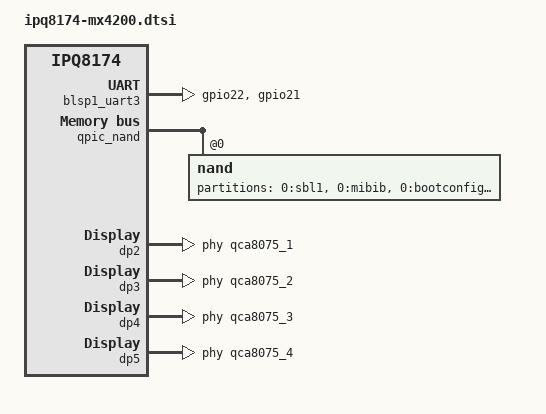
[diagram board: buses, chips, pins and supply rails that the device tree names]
// SPDX-License-Identifier: GPL-2.0-or-later OR MIT

#include "ipq8174-mx4x00.dtsi"

&tlmm {
	iot_pins: iot-pins {
		recovery-pins {
			pins = "gpio22";
			function = "gpio";
			drive-strength = <8>;
			input;
		};

		reset-pins {
			pins = "gpio21";
			function = "gpio";
			drive-strength = <8>;
			bias-pull-up;
		};
	};
};

&blsp1_uart3 {
	status = "okay";

	pinctrl-0 = <&hsuart_pins>, <&iot_pins>;
	pinctrl-names = "default";

	/* Silicon Labs EFR32MG21 IoT */
};

&qpic_nand {
	status = "okay";

	partitions {
		status = "disabled";
	};

	nand@0 {
		reg = <0>;

		nand-ecc-strength = <4>;
		nand-ecc-step-size = <512>;
		nand-bus-width = <8>;

		partitions {
			compatible = "fixed-partitions";
			#address-cells = <1>;
			#size-cells = <1>;

			partition@0 {
				label = "0:sbl1";
				reg = <0x00000000 0x00100000>;
				read-only;
			};

			partition@100000 {
				label = "0:mibib";
				reg = <0x00100000 0x00100000>;
				read-only;
			};

			partition@200000 {
				label = "0:bootconfig";
				reg = <0x00200000 0x00080000>;
				read-only;
			};

			partition@280000 {
				label = "0:bootconfig1";
				reg = <0x00280000 0x00080000>;
				read-only;
			};

			partition@300000 {
				label = "0:qsee";
				reg = <0x00300000 0x00300000>;
				read-only;
			};

			partition@600000 {
				label = "0:qsee_1";
				reg = <0x00600000 0x00300000>;
				read-only;
			};

			partition@900000 {
				label = "0:devcfg";
				reg = <0x00900000 0x00080000>;
				read-only;
			};

			partition@980000 {
				label = "0:devcfg_1";
				reg = <0x00980000 0x00080000>;
				read-only;
			};

			partition@a00000 {
				label = "0:apdp";
				reg = <0x00a00000 0x00080000>;
				read-only;
			};

			partition@a80000 {
				label = "0:apdp_1";
				reg = <0x00a80000 0x00080000>;
				read-only;
			};

			partition@b00000 {
				label = "0:rpm";
				reg = <0x00b00000 0x00080000>;
				read-only;
			};

			partition@b80000 {
				label = "0:rpm_1";
				reg = <0x00b80000 0x00080000>;
				read-only;
			};

			partition@c00000 {
				label = "0:cdt";
				reg = <0x00c00000 0x00080000>;
				read-only;
			};

			partition@c80000 {
				label = "0:cdt_1";
				reg = <0x00c80000 0x00080000>;
				read-only;
			};

			partition@d00000 {
				label = "0:appsblenv";
				reg = <0x00d00000 0x00080000>;
			};

			partition@d80000 {
				label = "0:appsbl";
				reg = <0x00d80000 0x00100000>;
				read-only;
			};

			partition@e80000 {
				label = "0:appsbl_1";
				reg = <0x00e80000 0x00100000>;
				read-only;
			};

			partition@f80000 {
				label = "0:art";
				reg = <0x00f80000 0x00080000>;
				read-only;
			};

			partition@1000000 {
				label = "u_env";
				reg = <0x01000000 0x00040000>;
			};

			partition@1040000 {
				label = "s_env";
				reg = <0x01040000 0x00020000>;
			};

			partition@1060000 {
				label = "devinfo";
				reg = <0x01060000 0x00020000>;
				read-only;

				nvmem-layout {
					compatible = "ascii-eq-delim-env";

					hw_mac_addr: hw_mac_addr {
						compatible = "mac-base";
						#nvmem-cell-cells = <1>;
					};
				};
			};

			partition@1080000 {
				label = "kernel";
				reg = <0x01080000 0x09600000>;
			};

			partition@1680000 {
				label = "rootfs";
				reg = <0x01680000 0x09000000>;
			};

			partition@a680000 {
				label = "alt_kernel";
				reg = <0x0a680000 0x09600000>;
			};

			partition@ac80000 {
				label = "alt_rootfs";
				reg = <0x0ac80000 0x09000000>;
			};

			partition@13c80000 {
				label = "sysdiag";
				reg = <0x13c80000 0x00200000>;
				read-only;
			};

			partition@13e80000 {
				label = "0:ethphyfw";
				reg = <0x13e80000 0x00080000>;
				read-only;
			};

			partition@13f00000 {
				label = "syscfg";
				reg = <0x13f00000 0x0b800000>;
				read-only;
			};

			partition@1f700000 {
				label = "0:wififw";
				reg = <0x1f700000 0x00900000>;
				read-only;
			};
		};
	};
};

&dp2 {
	status = "okay";
	phy-handle = <&qca8075_1>;
	label = "wan";
};

&dp3 {
	status = "okay";
	phy-handle = <&qca8075_2>;
	label = "lan1";
};

&dp4 {
	status = "okay";
	phy-handle = <&qca8075_3>;
	label = "lan2";
};

&dp5 {
	status = "okay";
	phy-handle = <&qca8075_4>;
	label = "lan3";
};
